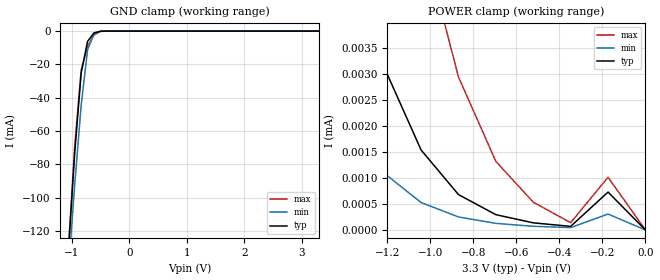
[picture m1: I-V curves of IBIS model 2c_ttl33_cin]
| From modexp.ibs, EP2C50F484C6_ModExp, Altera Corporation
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[Model] 2c_ttl33_cin
Model_type Input
Vinl  = 0.8V
Vinh  = 1.7V
C_comp  3.8pF   NA   NA
[Temperature Range] 25   85   0
[Voltage Range]   3.3   3.135   3.465
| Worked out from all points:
|   GND clamp passes 1 mA (typ) near -0.61 V on its own axis
[GND Clamp]
| voltage   I (typ)   I (min)   I (max)
-3.3V     -1.525A    -1.347A    -1.631A
-1.063V   -132.4mA   -144.4mA   -131.8mA
-950.8mV  -72.91mA   -91.85mA   -68.52mA
-839mV    -25.14mA   -44.53mA   -23.44mA
-727.1mV  -6.162mA   -11.17mA   -9.106mA
-615.2mV  -1.09mA    -1.592mA   -2.362mA
-503.4mV  -85.58uA   -161.1uA   -206uA
-391.5mV  -4.442uA   -9.192uA   -8.484uA
3.3V      11.77nA    322.6nA    -115.7nA
[POWER Clamp]
| voltage   I (typ)   I (min)   I (max)
-3.3V     85.54uA    53.92uA    123.2uA
-1.563V   9.367uA    3.905uA    20.91uA
-1.389V   5.739uA    2.168uA    14.78uA
-1.216V   3.156uA    1.102uA    9.69uA
-1.042V   1.541uA    528.8nA    5.723uA
-868.4mV  681.9nA    251nA      2.949uA
-694.7mV  294.9nA    127.2nA    1.321uA
-521.1mV  137.5nA    71nA       535.5nA
-347.4mV  69.4nA     45.46nA    140.2nA
-173.7mV  730.6nA    306.9nA    1.016uA
0V        0A         0A         0A
